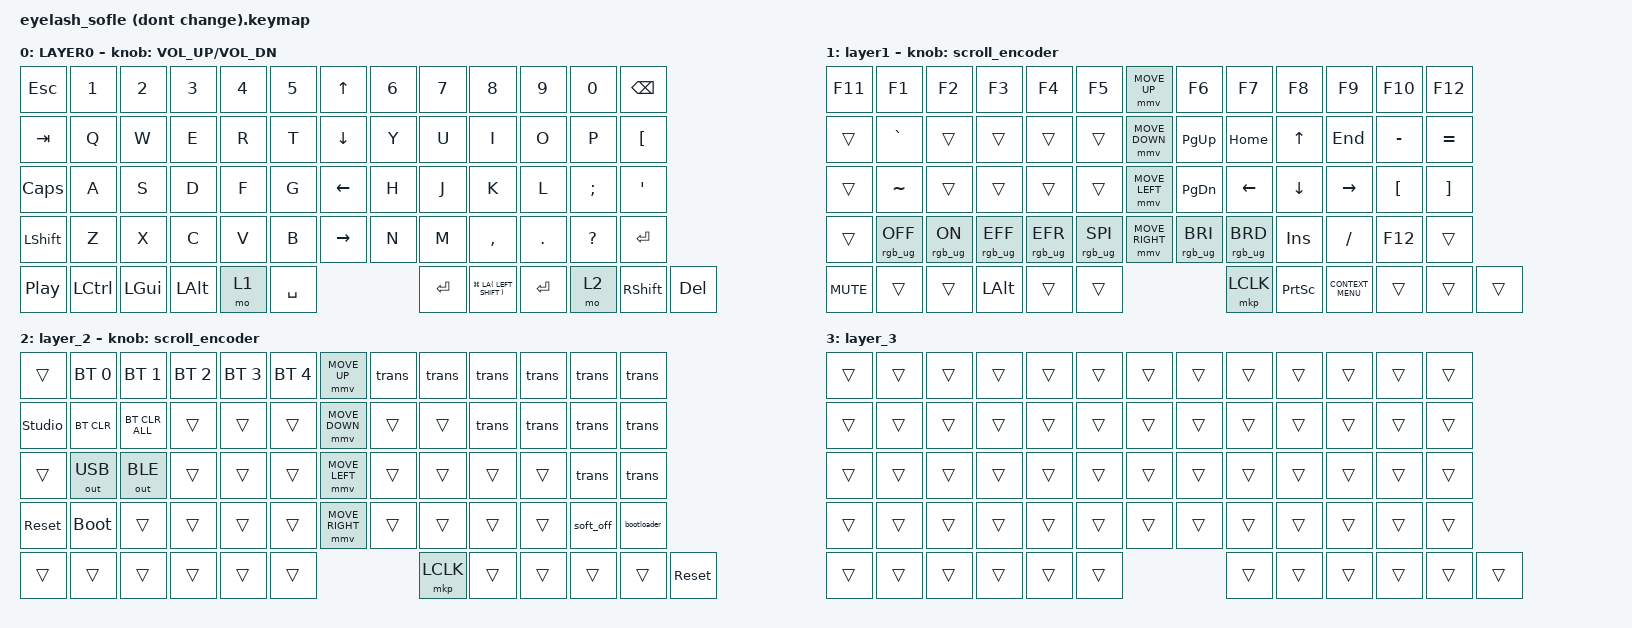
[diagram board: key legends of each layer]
#define ZMK_POINTING_DEFAULT_MOVE_VAL 1200  // 600
#define ZMK_POINTING_DEFAULT_SCRL_VAL 25   // 10

#include <input/processors.dtsi>
#include <zephyr/dt-bindings/input/input-event-codes.h>
#include <behaviors.dtsi>
#include <dt-bindings/zmk/bt.h>
#include <dt-bindings/zmk/ext_power.h>
#include <dt-bindings/zmk/keys.h>
#include <dt-bindings/zmk/pointing.h>
#include <dt-bindings/zmk/rgb.h>
#include <dt-bindings/zmk/outputs.h>

&mmv_input_listener { input-processors = <&zip_xy_scaler 2 1>; };

&msc_input_listener { input-processors = <&zip_scroll_scaler 2 1>; };

&msc {
    acceleration-exponent = <1>;      // 0
    time-to-max-speed-ms = <100>;       // 300
    delay-ms = <0>;                   // 0
};

&mmv {
    time-to-max-speed-ms = <500>;
    acceleration-exponent = <1>;
    trigger-period-ms = <16>;
};


/ {

    scroll_encoder: scroll_encoder {
        compatible = "zmk,behavior-sensor-rotate";
        #sensor-binding-cells = <0>;
        bindings = <&msc SCRL_DOWN>, <&msc SCRL_UP>;
        tap-ms = <100>;
    };

    keymap {
        compatible = "zmk,keymap";

        layer0 {
            bindings = <
&kp ESC     &kp N1     &kp N2        &kp N3        &kp N4  &kp N5       &kp UP_ARROW     &kp N6     &kp N7     &kp N8     &kp N9           &kp N0      &kp BACKSPACE
&kp TAB     &kp Q      &kp W         &kp E         &kp R   &kp T        &kp DOWN_ARROW   &kp Y      &kp U      &kp I      &kp O            &kp P       &kp LEFT_BRACKET
&kp CAPS    &kp A      &kp S         &kp D         &kp F   &kp G        &kp LEFT_ARROW   &kp H      &kp J      &kp K      &kp L            &kp SEMI    &kp APOS
&kp LSHFT   &kp Z      &kp X         &kp C         &kp V   &kp B        &kp RIGHT_ARROW  &kp N      &kp M      &kp COMMA  &kp DOT          &kp QUESTION    &kp ENTER
&kp C_PLAY_PAUSE  &kp LCTRL  &kp LEFT_GUI  &kp LEFT_ALT  &mo 1   &kp SPACE    &kp ENTER        &kp LG( LA( LEFT_SHIFT ) )  &kp ENTER  &mo 2      &kp RIGHT_SHIFT  &kp DELETE
            >;

            sensor-bindings = <&inc_dec_kp C_VOLUME_UP C_VOL_DN>;
            display-name = "LAYER0";
        };

        layer_1 {
            bindings = <
&kp F11   &kp F1           &kp F2          &kp F3           &kp F4           &kp F5             &mmv MOVE_UP     &kp F6           &kp F7           &kp F8      &kp F9     &kp F10           &F12
&trans      &kp GRAVE        &trans       &trans        &trans        &trans           &mmv MOVE_DOWN   &kp PG_UP        &kp HOME          &kp UP      &kp END   &kp MINUS         &kp EQUAL
&trans      &kp TILDE        &trans          &trans           &trans           &trans           &mmv MOVE_LEFT   &kp PG_DN        &kp LEFT         &kp DOWN    &kp RIGHT  &kp LEFT_BRACKET  &kp RIGHT_BRACKET
&trans      &rgb_ug RGB_OFF  &rgb_ug RGB_ON  &rgb_ug RGB_EFF  &rgb_ug RGB_EFR  &rgb_ug RGB_SPI    &mmv MOVE_RIGHT  &rgb_ug RGB_BRI  &rgb_ug RGB_BRD  &kp INSERT  &kp FSLH    &kp F12           &trans
&kp C_MUTE  &trans           &trans          &kp LEFT_ALT           &trans           &trans             &mkp LCLK        &kp PRINTSCREEN           &kp K_CONTEXT_MENU           &trans      &trans     &trans
            >;

            display-name = "layer1";
            sensor-bindings = <&scroll_encoder>;
        };

        layer_2 {
            bindings = <
&trans  &bt BT_SEL 0  &bt BT_SEL 1    &bt BT_SEL 2  &bt BT_SEL 3  &bt BT_SEL 4    &mmv MOVE_UP     &kp trans  &kp trans  &kp trans      &kp trans     &kp trans      &kp trans
&studio_unlock      &bt BT_CLR    &bt BT_CLR_ALL  &trans        &trans        &trans          &mmv MOVE_DOWN   &trans  &trans  &kp trans     &kp trans    &kp trans    &kp trans
&trans     &out OUT_USB  &out OUT_BLE    &trans        &trans        &trans          &mmv MOVE_LEFT   &trans  &trans  &trans      &trans     &kp trans     &kp trans
&sys_reset     &bootloader    &trans          &trans   &trans        &trans          &mmv MOVE_RIGHT  &trans  &trans  &trans  &trans  &soft_off  &kp bootloader
&trans     &trans        &trans          &trans        &trans        &trans          &mkp LCLK        &trans  &trans  &trans      &trans     &sys_reset
            >;

            sensor-bindings = <&scroll_encoder>;
        };

        layer_3 {
            bindings = <
&trans  &trans  &trans  &trans  &trans  &trans    &trans  &trans  &trans  &trans  &trans  &trans  &trans
&trans  &trans  &trans  &trans  &trans  &trans    &trans  &trans  &trans  &trans  &trans  &trans  &trans
&trans  &trans  &trans  &trans  &trans  &trans    &trans  &trans  &trans  &trans  &trans  &trans  &trans
&trans  &trans  &trans  &trans  &trans  &trans    &trans  &trans  &trans  &trans  &trans  &trans  &trans
&trans  &trans  &trans  &trans  &trans  &trans    &trans  &trans  &trans  &trans  &trans  &trans
            >;
        };
    };
};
